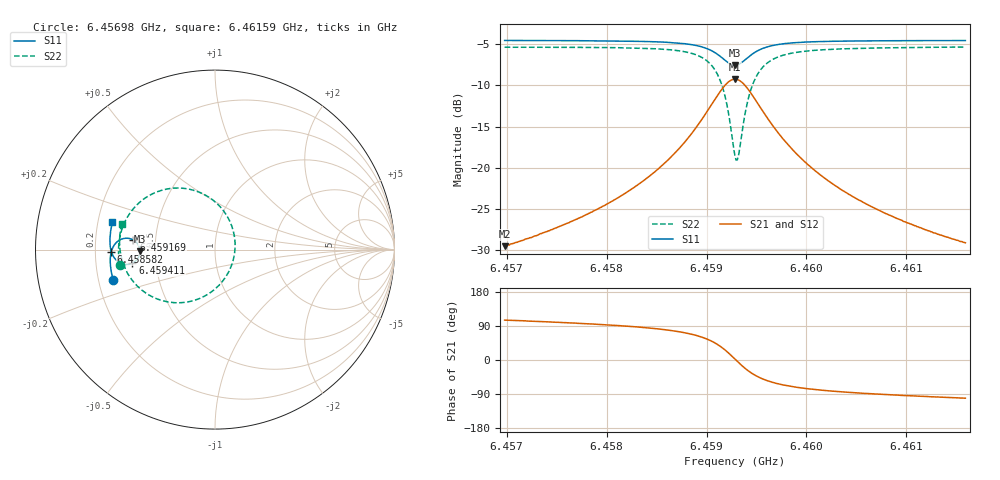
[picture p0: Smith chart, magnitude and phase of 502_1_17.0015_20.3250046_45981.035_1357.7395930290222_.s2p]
#  HZ  S  RI  R  50.00
! Rohde & Schwarz Vector Network Analyzer
! Rohde-Schwarz,ZNB20-2Port,1311601062101988,3.16
! Created: UTC 3/20/2024, 11:14:37 PM
! freq[Hz]  re:S11  im:S11  re:S21  im:S21  re:S12  im:S12  re:S22  im:S22
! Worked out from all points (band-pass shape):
!   401 points, 6.45698 GHz to 6.46159 GHz, reference 50 ohm
!   highest |S21| = -9.24 dB at 6.459285 GHz (marker M1); lowest = -29.5 dB at 6.45698 GHz (marker M2)
!   |S21| within 3 dB of the highest: 6.459054 GHz to 6.459515 GHz (460.8 kHz wide, 0.00713 % of centre)
!   lowest |S11| = -7.6 dB at 6.459285 GHz (marker M3), VSWR 2.44, Z = 20.5 - j0.484 ohm
!   |S11| at or under -10 dB: nowhere
!   |S22| runs from -19.0 to -5.4 dB; largest |S21 - S12| = 0.013
!   S11 on the Smith chart (normalised r, x): 6.45698 GHz: 0.26, -0.14; 6.458582 GHz: 0.27, -0.01; 6.459169 GHz: 0.37, +0.05; 6.459411 GHz: 0.37, -0.07; 6.46159 GHz: 0.26, +0.12
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6.4569799e9  -0.5667 -0.1716  -0.00883 0.0324  -0.00723 0.0323  -0.532 -0.0847
6.457752e9  -0.5808 -0.1043  -0.00554 0.0501  -0.00303 0.0496  -0.5374 0.00558
6.4581439e9  -0.5835 -0.0655  -0.000445 0.0678  0.0029 0.0664  -0.5304 0.0667
6.4585242e9  -0.5798 -0.0205  0.0142 0.0985  0.0181 0.0958  -0.5039 0.1507
6.4585818e9  -0.578 -0.0126  0.0186 0.1054  0.0226 0.1023  -0.4958 0.1672
6.4587892e9  -0.565 0.0195  0.0459 0.1378  0.0501 0.1328  -0.4443 0.2401
6.458939e9  -0.5424 0.0458  0.0912 0.1681  0.0944 0.1615  -0.3608 0.3044
6.4590773e9  -0.4987 0.0633  0.1782 0.1847  0.1792 0.1773  -0.2019 0.343
6.4591695e9  -0.4543 0.0531  0.2679 0.1533  0.2682 0.1476  -0.0355 0.2929
6.4592386e9  -0.4253 0.0212  0.3283 0.0816  0.3304 0.0764  0.0798 0.1635
6.4592847e9  -0.4184 -0.00975  0.3447 0.014  0.3482 0.00697  0.112 0.037
6.4592963e9  -0.4189 -0.0178  0.3444 -0.00379  0.3482 -0.0114  0.1115 0.0033
6.4593193e9  -0.4223 -0.0333  0.3388 -0.0383  0.3427 -0.0474  0.1005 -0.0624
6.4593654e9  -0.4379 -0.0593  0.3104 -0.0982  0.3124 -0.1099  0.0428 -0.1754
6.4594115e9  -0.4599 -0.0756  0.2683 -0.1391  0.2675 -0.1523  -0.042 -0.2502
6.4595037e9  -0.5033 -0.0822  0.1835 -0.1702  0.1776 -0.1817  -0.2107 -0.2962
6.4596535e9  -0.547 -0.0617  0.0961 -0.1564  0.0875 -0.1625  -0.3783 -0.2469
6.4598148e9  -0.5685 -0.0341  0.0511 -0.1285  0.0436 -0.1313  -0.4583 -0.1746
6.4600568e9  -0.581 0.00144  0.022 -0.097  0.0163 -0.0975  -0.5063 -0.0923
6.4604371e9  -0.5855 0.0462  0.00528 -0.0684  0.00137 -0.0679  -0.5286 -0.0068
6.4608289e9  -0.5835 0.0853  -0.0015 -0.0518  -0.00428 -0.0509  -0.5318 0.055
6.4615895e9  -0.5711 0.1526  -0.00655 -0.0346  -0.00826 -0.0335  -0.5204 0.1445
